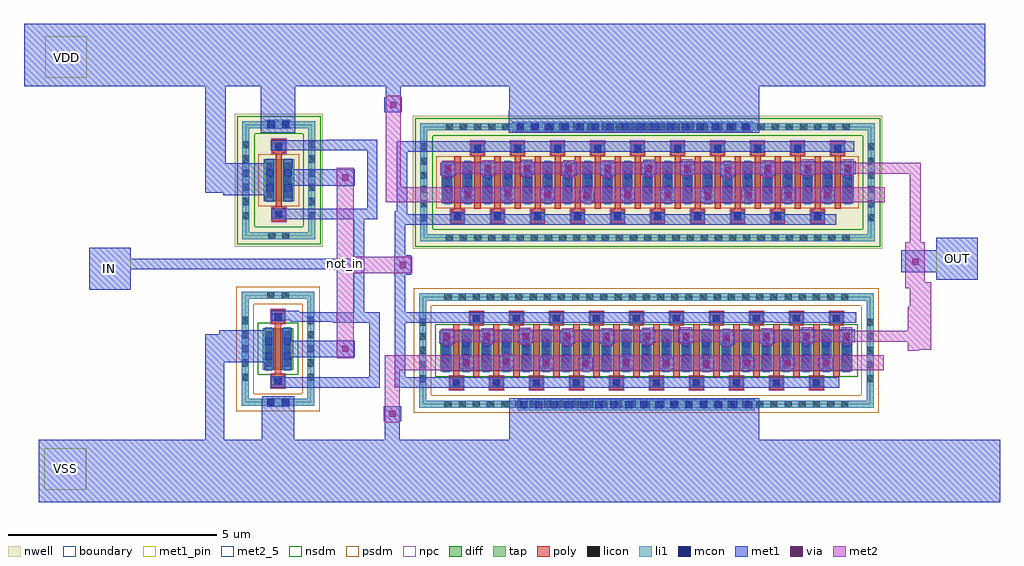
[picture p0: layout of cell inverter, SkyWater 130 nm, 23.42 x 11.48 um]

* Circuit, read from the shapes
.subckt inverter IN OUT VDD VSS not_in
XM1 not_in IN VSS VSS sky130_fd_pr__nfet_01v8 w=1 l=0.15
XM2 VSS not_in OUT VSS sky130_fd_pr__nfet_01v8 w=1 l=0.15 m=20
XM3 not_in IN VDD VDD sky130_fd_pr__pfet_01v8 w=1 l=0.15
XM4 VDD not_in OUT VDD sky130_fd_pr__pfet_01v8 w=1 l=0.15 m=20
.ends

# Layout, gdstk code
import gdstk
lib = gdstk.Library(unit=1e-6, precision=1e-09)
def R(c, l, rs):  # rectangles x0, y0, x1, y1
    for r in rs: c.add(gdstk.rectangle(r[:2], r[2:], *l))
def A(c, l, x, y, w, h, nx, ny, dx, dy):  # array of equal rectangles
    R(c, l, [(x+i*dx, y+j*dy, x+i*dx+w, y+j*dy+h) for i in range(nx) for j in range(ny)])
nwell = (64, 20)
diff = (65, 20)
tap = (65, 44)
poly = (66, 20)
licon = (66, 44)
li1 = (67, 20)
mcon = (67, 44)
met1_pin = (68, 16)
met1 = (68, 20)
via = (68, 44)
met2_5 = (69, 5)
met2 = (69, 20)
nsdm = (93, 44)
psdm = (94, 20)
npc = (95, 20)
boundary = (235, 4)

sky130_fd_pr__nfet_01v8_ = lib.new_cell('sky130_fd_pr__nfet_01v8_648S5X')
R(sky130_fd_pr__nfet_01v8_, diff, [(-0.365,-0.5,0.365,0.5)])
R(sky130_fd_pr__nfet_01v8_, tap, [(-0.875,-1.37,0.875,-1.2), (-0.875,-1.2,-0.705,1.2), (0.705,-1.2,0.875,1.2), (-0.875,1.2,0.875,1.37)])
R(sky130_fd_pr__nfet_01v8_, poly, [(-0.165,-0.94,0.165,-0.61), (-0.075,-0.61,0.075,0.61), (-0.165,0.61,0.165,0.94)])
A(sky130_fd_pr__nfet_01v8_, licon, -0.875, -0.765, 0.17, 0.17, 1, 5, 0, 0.34)
A(sky130_fd_pr__nfet_01v8_, licon, 0.705, -0.765, 0.17, 0.17, 1, 5, 0, 0.34)
A(sky130_fd_pr__nfet_01v8_, licon, -0.305, -0.425, 0.17, 0.17, 1, 3, 0, 0.34)
A(sky130_fd_pr__nfet_01v8_, licon, 0.135, -0.425, 0.17, 0.17, 1, 3, 0, 0.34)
R(sky130_fd_pr__nfet_01v8_, licon, [(-0.255,-1.37,-0.085,-1.2), (0.085,-1.37,0.255,-1.2), (-0.085,-0.86,0.085,-0.69), (-0.085,0.69,0.085,0.86), (-0.255,1.2,-0.085,1.37), (0.085,1.2,0.255,1.37)])
R(sky130_fd_pr__nfet_01v8_, li1, [(-0.875,-1.37,0.875,-1.2), (-0.875,-1.2,-0.705,1.2), (0.705,-1.2,0.875,1.2), (-0.165,-0.86,0.165,-0.69), (-0.305,-0.52,-0.135,0.52), (0.135,-0.52,0.305,0.52), (-0.165,0.69,0.165,0.86), (-0.875,1.2,0.875,1.37)])
R(sky130_fd_pr__nfet_01v8_, mcon, [(-0.085,-0.86,0.085,-0.69), (-0.305,-0.265,-0.135,-0.095), (0.135,-0.265,0.305,-0.095), (-0.305,0.095,-0.135,0.265), (0.135,0.095,0.305,0.265), (-0.085,0.69,0.085,0.86)])
R(sky130_fd_pr__nfet_01v8_, met1, [(-0.145,-0.89,0.145,-0.66), (-0.335,-0.5,-0.105,0.5), (0.105,-0.5,0.335,0.5), (-0.145,0.66,0.145,0.89)])
R(sky130_fd_pr__nfet_01v8_, nsdm, [(-0.49,-0.625,0.49,0.625)])
R(sky130_fd_pr__nfet_01v8_, psdm, [(-1,-1.495,1,-1.075), (-1,-1.075,-0.58,1.075), (0.58,-1.075,1,1.075), (-1,1.075,1,1.495)])
R(sky130_fd_pr__nfet_01v8_, npc, [(-0.185,-0.96,0.185,-0.59), (-0.185,0.59,0.185,0.96)])
R(sky130_fd_pr__nfet_01v8_, boundary, [(-0.79,-1.285,0.79,1.285)])

sky130_fd_pr__pfet_01v8_ = lib.new_cell('sky130_fd_pr__pfet_01v8_XGS3BL')
R(sky130_fd_pr__pfet_01v8_, nwell, [(-1.055,-1.595,1.055,1.595)])
R(sky130_fd_pr__pfet_01v8_, diff, [(-0.365,-0.5,0.365,0.5)])
R(sky130_fd_pr__pfet_01v8_, tap, [(-0.875,-1.415,0.875,-1.245), (-0.875,-1.245,-0.705,1.245), (0.705,-1.245,0.875,1.245), (-0.875,1.245,0.875,1.415)])
R(sky130_fd_pr__pfet_01v8_, poly, [(-0.165,-0.985,0.165,-0.655), (-0.075,-0.655,0.075,0.655), (-0.165,0.655,0.165,0.985)])
A(sky130_fd_pr__pfet_01v8_, licon, -0.875, -0.935, 0.17, 0.17, 1, 6, 0, 0.34)
A(sky130_fd_pr__pfet_01v8_, licon, 0.705, -0.935, 0.17, 0.17, 1, 6, 0, 0.34)
A(sky130_fd_pr__pfet_01v8_, licon, -0.305, -0.425, 0.17, 0.17, 1, 3, 0, 0.34)
A(sky130_fd_pr__pfet_01v8_, licon, 0.135, -0.425, 0.17, 0.17, 1, 3, 0, 0.34)
R(sky130_fd_pr__pfet_01v8_, licon, [(-0.255,-1.415,-0.085,-1.245), (0.085,-1.415,0.255,-1.245), (-0.085,-0.905,0.085,-0.735), (-0.085,0.735,0.085,0.905), (-0.255,1.245,-0.085,1.415), (0.085,1.245,0.255,1.415)])
R(sky130_fd_pr__pfet_01v8_, li1, [(-0.875,-1.415,0.875,-1.245), (-0.875,-1.245,-0.705,1.245), (0.705,-1.245,0.875,1.245), (-0.165,-0.905,0.165,-0.735), (-0.305,-0.52,-0.135,0.52), (0.135,-0.52,0.305,0.52), (-0.165,0.735,0.165,0.905), (-0.875,1.245,0.875,1.415)])
R(sky130_fd_pr__pfet_01v8_, mcon, [(-0.085,-0.905,0.085,-0.735), (-0.305,-0.265,-0.135,-0.095), (0.135,-0.265,0.305,-0.095), (-0.305,0.095,-0.135,0.265), (0.135,0.095,0.305,0.265), (-0.085,0.735,0.085,0.905)])
R(sky130_fd_pr__pfet_01v8_, met1, [(-0.145,-0.935,0.145,-0.705), (-0.335,-0.5,-0.105,0.5), (0.105,-0.5,0.335,0.5), (-0.145,0.705,0.145,0.935)])
R(sky130_fd_pr__pfet_01v8_, nsdm, [(-1,-1.54,1,-1.12), (-1,-1.12,-0.58,1.12), (0.58,-1.12,1,1.12), (-1,1.12,1,1.54)])
R(sky130_fd_pr__pfet_01v8_, psdm, [(-0.49,-0.625,0.49,0.625)])
R(sky130_fd_pr__pfet_01v8_, npc, [(-0.185,-1.005,0.185,-0.635), (-0.185,0.635,0.185,1.005)])
R(sky130_fd_pr__pfet_01v8_, boundary, [(-0.79,-1.33,0.79,1.33)])

c_sky130_fd_pr__nfet_01v8_ = lib.new_cell('sky130_fd_pr__nfet_01v8_YTLFGX')
R(c_sky130_fd_pr__nfet_01v8_, diff, [(-4.945,-0.5,4.945,0.5)])
R(c_sky130_fd_pr__nfet_01v8_, tap, [(-5.455,-1.37,5.455,-1.2), (-5.455,-1.2,-5.285,1.2), (5.285,-1.2,5.455,1.2), (-5.455,1.2,5.455,1.37)])
A(c_sky130_fd_pr__nfet_01v8_, poly, -4.725, -0.94, 0.33, 0.33, 10, 1, 0.96, 0)
A(c_sky130_fd_pr__nfet_01v8_, poly, -4.155, -0.63, 0.15, 1.24, 10, 1, 0.96, 0)
A(c_sky130_fd_pr__nfet_01v8_, poly, -4.635, -0.61, 0.15, 1.24, 10, 1, 0.96, 0)
A(c_sky130_fd_pr__nfet_01v8_, poly, -4.245, 0.61, 0.33, 0.33, 10, 1, 0.96, 0)
A(c_sky130_fd_pr__nfet_01v8_, licon, -4.845, -1.37, 0.17, 0.17, 29, 2, 0.34, 2.57)
A(c_sky130_fd_pr__nfet_01v8_, licon, -4.645, -0.86, 0.17, 0.17, 10, 1, 0.96, 0)
A(c_sky130_fd_pr__nfet_01v8_, licon, -5.455, -0.765, 0.17, 0.17, 1, 5, 0, 0.34)
A(c_sky130_fd_pr__nfet_01v8_, licon, 5.285, -0.765, 0.17, 0.17, 1, 5, 0, 0.34)
A(c_sky130_fd_pr__nfet_01v8_, licon, -4.885, -0.425, 0.17, 0.17, 21, 3, 0.48, 0.34)
A(c_sky130_fd_pr__nfet_01v8_, licon, -4.165, 0.69, 0.17, 0.17, 10, 1, 0.96, 0)
A(c_sky130_fd_pr__nfet_01v8_, li1, -4.725, -0.86, 0.33, 0.17, 10, 1, 0.96, 0)
A(c_sky130_fd_pr__nfet_01v8_, li1, -4.885, -0.52, 0.17, 1.04, 21, 1, 0.48, 0)
A(c_sky130_fd_pr__nfet_01v8_, li1, -4.245, 0.69, 0.33, 0.17, 10, 1, 0.96, 0)
R(c_sky130_fd_pr__nfet_01v8_, li1, [(-5.455,-1.37,5.455,-1.2), (-5.455,-1.2,-5.285,1.2), (5.285,-1.2,5.455,1.2), (-5.455,1.2,5.455,1.37)])
A(c_sky130_fd_pr__nfet_01v8_, mcon, -4.645, -0.86, 0.17, 0.17, 10, 1, 0.96, 0)
A(c_sky130_fd_pr__nfet_01v8_, mcon, -4.885, -0.265, 0.17, 0.17, 21, 2, 0.48, 0.36)
A(c_sky130_fd_pr__nfet_01v8_, mcon, -4.165, 0.69, 0.17, 0.17, 10, 1, 0.96, 0)
A(c_sky130_fd_pr__nfet_01v8_, met1, -4.705, -0.89, 0.29, 0.23, 10, 1, 0.96, 0)
A(c_sky130_fd_pr__nfet_01v8_, met1, -4.915, -0.5, 0.23, 1, 21, 1, 0.48, 0)
A(c_sky130_fd_pr__nfet_01v8_, met1, -4.225, 0.66, 0.29, 0.23, 10, 1, 0.96, 0)
R(c_sky130_fd_pr__nfet_01v8_, nsdm, [(-5.07,-0.625,5.07,0.625)])
R(c_sky130_fd_pr__nfet_01v8_, psdm, [(-5.58,-1.495,5.58,-1.075), (-5.58,-1.075,-5.16,1.075), (5.16,-1.075,5.58,1.075), (-5.58,1.075,5.58,1.495)])
A(c_sky130_fd_pr__nfet_01v8_, npc, -4.745, -0.96, 0.37, 0.37, 10, 1, 0.96, 0)
A(c_sky130_fd_pr__nfet_01v8_, npc, -4.265, 0.59, 0.37, 0.37, 10, 1, 0.96, 0)
R(c_sky130_fd_pr__nfet_01v8_, boundary, [(-5.37,-1.285,5.37,1.285)])

c_sky130_fd_pr__pfet_01v8_ = lib.new_cell('sky130_fd_pr__pfet_01v8_8DVCWJ')
R(c_sky130_fd_pr__pfet_01v8_, nwell, [(-5.635,-1.595,5.635,1.595)])
R(c_sky130_fd_pr__pfet_01v8_, diff, [(-4.945,-0.5,4.945,0.5)])
R(c_sky130_fd_pr__pfet_01v8_, tap, [(-5.455,-1.415,5.455,-1.245), (-5.455,-1.245,-5.285,1.245), (5.285,-1.245,5.455,1.245), (-5.455,1.245,5.455,1.415)])
A(c_sky130_fd_pr__pfet_01v8_, poly, -4.725, -0.985, 0.33, 0.33, 10, 1, 0.96, 0)
A(c_sky130_fd_pr__pfet_01v8_, poly, -4.635, -0.655, 0.15, 1.285, 10, 1, 0.96, 0)
A(c_sky130_fd_pr__pfet_01v8_, poly, -4.155, -0.63, 0.15, 1.285, 10, 1, 0.96, 0)
A(c_sky130_fd_pr__pfet_01v8_, poly, -4.245, 0.655, 0.33, 0.33, 10, 1, 0.96, 0)
A(c_sky130_fd_pr__pfet_01v8_, licon, -4.845, -1.415, 0.17, 0.17, 29, 2, 0.34, 2.66)
A(c_sky130_fd_pr__pfet_01v8_, licon, -5.455, -0.935, 0.17, 0.17, 1, 6, 0, 0.34)
A(c_sky130_fd_pr__pfet_01v8_, licon, 5.285, -0.935, 0.17, 0.17, 1, 6, 0, 0.34)
A(c_sky130_fd_pr__pfet_01v8_, licon, -4.645, -0.905, 0.17, 0.17, 10, 1, 0.96, 0)
A(c_sky130_fd_pr__pfet_01v8_, licon, -4.885, -0.425, 0.17, 0.17, 21, 3, 0.48, 0.34)
A(c_sky130_fd_pr__pfet_01v8_, licon, -4.165, 0.735, 0.17, 0.17, 10, 1, 0.96, 0)
A(c_sky130_fd_pr__pfet_01v8_, li1, -4.725, -0.905, 0.33, 0.17, 10, 1, 0.96, 0)
A(c_sky130_fd_pr__pfet_01v8_, li1, -4.885, -0.52, 0.17, 1.04, 21, 1, 0.48, 0)
A(c_sky130_fd_pr__pfet_01v8_, li1, -4.245, 0.735, 0.33, 0.17, 10, 1, 0.96, 0)
R(c_sky130_fd_pr__pfet_01v8_, li1, [(-5.455,-1.415,5.455,-1.245), (-5.455,-1.245,-5.285,1.245), (5.285,-1.245,5.455,1.245), (-5.455,1.245,5.455,1.415)])
A(c_sky130_fd_pr__pfet_01v8_, mcon, -4.645, -0.905, 0.17, 0.17, 10, 1, 0.96, 0)
A(c_sky130_fd_pr__pfet_01v8_, mcon, -4.885, -0.265, 0.17, 0.17, 21, 2, 0.48, 0.36)
A(c_sky130_fd_pr__pfet_01v8_, mcon, -4.165, 0.735, 0.17, 0.17, 10, 1, 0.96, 0)
A(c_sky130_fd_pr__pfet_01v8_, met1, -4.705, -0.935, 0.29, 0.23, 10, 1, 0.96, 0)
A(c_sky130_fd_pr__pfet_01v8_, met1, -4.915, -0.5, 0.23, 1, 21, 1, 0.48, 0)
A(c_sky130_fd_pr__pfet_01v8_, met1, -4.225, 0.705, 0.29, 0.23, 10, 1, 0.96, 0)
R(c_sky130_fd_pr__pfet_01v8_, nsdm, [(-5.58,-1.54,5.58,-1.12), (-5.58,-1.12,-5.16,1.12), (5.16,-1.12,5.58,1.12), (-5.58,1.12,5.58,1.54)])
R(c_sky130_fd_pr__pfet_01v8_, psdm, [(-5.07,-0.625,5.07,0.625)])
A(c_sky130_fd_pr__pfet_01v8_, npc, -4.745, -1.005, 0.37, 0.37, 10, 1, 0.96, 0)
A(c_sky130_fd_pr__pfet_01v8_, npc, -4.265, 0.635, 0.37, 0.37, 10, 1, 0.96, 0)
R(c_sky130_fd_pr__pfet_01v8_, boundary, [(-5.37,-1.33,5.37,1.33)])

inverter = lib.new_cell('inverter')
R(inverter, li1, [(10.67,-1.93,16.35,-1.67), (4.65,-1.85,5.2,-1.64), (10.54,4.75,16.31,4.99), (4.62,4.82,5.22,5.04)])
A(inverter, mcon, 10.725, -1.885, 0.17, 0.17, 16, 1, 0.36, 0)
A(inverter, mcon, 10.64, 4.785, 0.17, 0.17, 16, 1, 0.36, 0)
R(inverter, mcon, [(4.66,-1.83,4.83,-1.66), (5.02,-1.83,5.19,-1.66), (4.655,4.845,4.825,5.015), (5.015,4.845,5.185,5.015)])
R(inverter, met1_pin, [(-0.69,-3.84,0.31,-2.84), (0.38,0.96,1.38,1.96), (20.71,1.2,21.71,2.2), (-0.67,6.04,0.33,7.04)])
R(inverter, met1, [(-0.83,-4.14,22.24,-2.64), (3.17,-2.64,3.63,-0.78), (4.53,-2.64,5.3,-1.67), (7.48,-2.64,7.84,-2.2), (10.46,-2.64,16.46,-1.64), (7.45,-2.2,7.87,-1.84), (4.54,-1.67,5.3,-1.6), (4.735,-1.395,7.36,-1.145), (7.87,-1.395,18.385,-1.385), (7.715,-1.385,18.385,-1.145), (7.105,-1.145,7.355,0.17), (7.715,-1.145,7.965,0.17), (15.02,-0.96,15.38,-0.69), (12.11,-0.95,12.47,-0.68), (14.06,-0.94,14.42,-0.67), (16,-0.94,16.36,-0.67), (16.96,-0.94,17.32,-0.67), (17.88,-0.94,18.24,-0.67), (9.26,-0.93,9.62,-0.66), (11.17,-0.93,11.53,-0.66), (13.09,-0.92,13.45,-0.65), (10.22,-0.91,10.58,-0.64), (3.17,-0.78,4.77,-0.11), (5.07,-0.66,6.76,-0.26), (15.5,-0.35,15.87,-0.04), (11.68,-0.33,12.05,-0.02), (12.62,-0.33,12.99,-0.02), (16.46,-0.33,16.83,-0.02), (8.78,-0.32,9.16,-0.03), (10.67,-0.31,11.04,0), (13.6,-0.31,13.97,0), (9.74,-0.3,10.12,-0.01), (14.52,-0.3,14.89,0.01), (17.42,-0.3,17.79,0.01), (18.38,-0.3,18.75,0.01), (3.51,-0.11,4.77,-0.01), (6.23,0.17,7.36,0.19), (7.715,0.17,16.46,0.18), (16.83,0.17,18.785,0.18), (7.715,0.18,18.785,0.42), (5.21,0.19,7.36,0.23), (4.76,0.23,7.36,0.42), (4.76,0.42,5.43,0.45), (6.735,0.42,6.985,1.455), (7.715,0.42,7.965,1.32), (0.38,0.96,1.38,1.455), (20.71,1.2,21.71,1.38), (7.71,1.32,8.11,1.78), (19.87,1.38,21.71,1.91), (0.38,1.455,6.985,1.705), (0.38,1.705,1.38,1.96), (6.735,1.705,6.985,2.655), (7.715,1.78,7.965,2.515), (20.71,1.91,21.71,2.2), (7.715,2.515,18.315,2.765), (4.755,2.655,7.3,2.905), (7.715,2.765,8.02,2.845), (7.77,2.845,8.02,4.275), (7.055,2.905,7.3,4.305), (15.05,3.07,15.41,3.34), (12.14,3.08,12.5,3.35), (14.09,3.09,14.45,3.36), (16.03,3.09,16.39,3.36), (16.99,3.09,17.35,3.36), (17.91,3.09,18.27,3.36), (9.29,3.1,9.65,3.37), (11.2,3.1,11.56,3.37), (13.12,3.11,13.48,3.38), (10.25,3.12,10.61,3.39), (3.6,3.22,4.81,3.28), (3.17,3.28,4.81,3.99), (5.07,3.45,6.76,3.85), (15.53,3.68,15.9,3.99), (11.71,3.7,12.08,4.01), (12.65,3.7,13.02,4.01), (16.49,3.7,16.86,4.01), (8.81,3.71,9.19,4), (10.7,3.72,11.07,4.03), (13.63,3.72,14,4.03), (9.77,3.73,10.15,4.02), (14.55,3.73,14.92,4.04), (17.45,3.73,17.82,4.04), (18.41,3.73,18.78,4.04), (3.17,3.99,3.66,5.84), (7.77,4.275,18.745,4.525), (4.74,4.3,6.31,4.305), (4.74,4.305,7.3,4.55), (6.055,4.55,7.3,4.555), (10.45,4.72,16.46,5.27), (4.5,4.73,5.33,5.84), (7.47,5.22,7.89,5.58), (10.46,5.27,16.46,5.84), (7.5,5.58,7.86,5.84), (-1.18,5.84,21.89,7.34)])
R(inverter, via, [(7.585,-2.095,7.735,-1.945), (15.125,-0.9,15.275,-0.75), (12.215,-0.89,12.365,-0.74), (14.165,-0.88,14.315,-0.73), (16.105,-0.88,16.255,-0.73), (17.065,-0.88,17.215,-0.73), (17.985,-0.88,18.135,-0.73), (9.365,-0.87,9.515,-0.72), (11.275,-0.87,11.425,-0.72), (13.195,-0.86,13.345,-0.71), (10.325,-0.85,10.475,-0.7), (6.455,-0.535,6.605,-0.385), (15.61,-0.27,15.76,-0.12), (8.895,-0.25,9.045,-0.1), (11.79,-0.25,11.94,-0.1), (12.73,-0.25,12.88,-0.1), (16.57,-0.25,16.72,-0.1), (9.855,-0.23,10.005,-0.08), (10.78,-0.23,10.93,-0.08), (13.71,-0.23,13.86,-0.08), (14.63,-0.22,14.78,-0.07), (17.53,-0.22,17.68,-0.07), (18.49,-0.22,18.64,-0.07), (7.835,1.475,7.985,1.625), (20.135,1.555,20.285,1.705), (15.155,3.13,15.305,3.28), (12.245,3.14,12.395,3.29), (14.195,3.15,14.345,3.3), (16.135,3.15,16.285,3.3), (17.095,3.15,17.245,3.3), (18.015,3.15,18.165,3.3), (9.395,3.16,9.545,3.31), (11.305,3.16,11.455,3.31), (13.225,3.17,13.375,3.32), (10.355,3.18,10.505,3.33), (6.455,3.575,6.605,3.725), (15.64,3.76,15.79,3.91), (8.925,3.78,9.075,3.93), (11.82,3.78,11.97,3.93), (12.76,3.78,12.91,3.93), (16.6,3.78,16.75,3.93), (9.885,3.8,10.035,3.95), (10.81,3.8,10.96,3.95), (13.74,3.8,13.89,3.95), (14.66,3.81,14.81,3.96), (17.56,3.81,17.71,3.96), (18.52,3.81,18.67,3.96), (7.605,5.325,7.755,5.475)])
R(inverter, met2_5, [(6.33,-0.26,6.73,3.45)])
R(inverter, met2, [(7.48,-2.23,7.84,-0.97), (15.07,-1.01,15.33,-0.97), (12.16,-1,12.42,-0.97), (14.11,-0.99,14.37,-0.97), (16.05,-0.99,16.31,-0.97), (17.01,-0.99,17.27,-0.97), (17.93,-0.99,18.19,-0.97), (9.31,-0.98,9.57,-0.97), (11.22,-0.98,11.48,-0.97), (7.48,-0.97,19.45,-0.61), (6.33,-0.69,6.73,1.35), (10.27,-0.61,10.53,-0.59), (13.14,-0.61,13.4,-0.6), (20.03,-0.51,20.29,-0.485), (20.03,-0.485,20.595,-0.29), (15.55,-0.4,15.82,-0.29), (11.73,-0.38,12,-0.29), (12.67,-0.38,12.94,-0.29), (16.51,-0.38,16.78,-0.29), (8.83,-0.37,9.11,-0.29), (10.72,-0.36,10.99,-0.29), (13.65,-0.36,13.92,-0.29), (9.79,-0.35,10.07,-0.29), (14.57,-0.35,14.84,-0.29), (17.47,-0.35,17.74,-0.29), (18.43,-0.35,18.7,-0.29), (8.78,-0.29,20.595,-0.03), (8.83,-0.03,9.11,0.02), (9.79,-0.03,10.07,0.04), (10.72,-0.03,10.99,0.05), (11.73,-0.03,12,0.03), (12.67,-0.03,12.94,0.03), (13.65,-0.03,13.92,0.05), (14.57,-0.03,14.84,0.06), (15.55,-0.03,15.82,0.01), (16.51,-0.03,16.78,0.03), (17.47,-0.03,17.74,0.06), (18.43,-0.03,18.7,0.06), (20.03,-0.03,20.595,0.55), (20.08,0.55,20.595,1), (19.97,1,20.595,1.135), (19.97,1.135,20.44,2.1), (6.33,1.35,8.14,1.75), (6.33,1.75,6.73,3.88), (20.08,2.1,20.34,3.74), (15.1,3.02,15.36,3.06), (12.19,3.03,12.45,3.06), (14.14,3.04,14.4,3.06), (16.08,3.04,16.34,3.06), (17.04,3.04,17.3,3.06), (17.96,3.04,18.22,3.06), (9.34,3.05,9.6,3.06), (11.25,3.05,11.51,3.06), (7.5,3.06,19.48,3.42), (7.5,3.42,7.86,5.61), (10.3,3.42,10.56,3.44), (13.17,3.42,13.43,3.43), (15.58,3.63,15.85,3.74), (11.76,3.65,12.03,3.74), (12.7,3.65,12.97,3.74), (16.54,3.65,16.81,3.74), (8.86,3.66,9.14,3.74), (10.75,3.67,11.02,3.74), (13.68,3.67,13.95,3.74), (9.82,3.68,10.1,3.74), (14.6,3.68,14.87,3.74), (17.5,3.68,17.77,3.74), (18.46,3.68,18.73,3.74), (8.81,3.74,20.34,4), (8.86,4,9.14,4.05), (9.82,4,10.1,4.07), (10.75,4,11.02,4.08), (11.76,4,12.03,4.06), (12.7,4,12.97,4.06), (13.68,4,13.95,4.08), (14.6,4,14.87,4.09), (15.58,4,15.85,4.04), (16.54,4,16.81,4.06), (17.5,4,17.77,4.09), (18.46,4,18.73,4.09)])
inverter.add(gdstk.Reference(sky130_fd_pr__nfet_01v8_, (4.915,-0.46)))
inverter.add(gdstk.Reference(sky130_fd_pr__pfet_01v8_, (4.935,3.585)))
inverter.add(gdstk.Reference(c_sky130_fd_pr__nfet_01v8_, (13.755,-0.5)))
inverter.add(gdstk.Reference(c_sky130_fd_pr__pfet_01v8_, (13.785,3.535)))
inverter.add(gdstk.Label('not_in', (6.53,1.595), layer=69, texttype=5))
inverter.add(gdstk.Label('VDD', (-0.17,6.54), layer=68, texttype=5))
inverter.add(gdstk.Label('VSS', (-0.19,-3.34), layer=68, texttype=5))
inverter.add(gdstk.Label('OUT', (21.21,1.7), layer=68, texttype=5))
inverter.add(gdstk.Label('IN', (0.88,1.46), layer=68, texttype=5))

lib.write_gds('inverter.gds')
